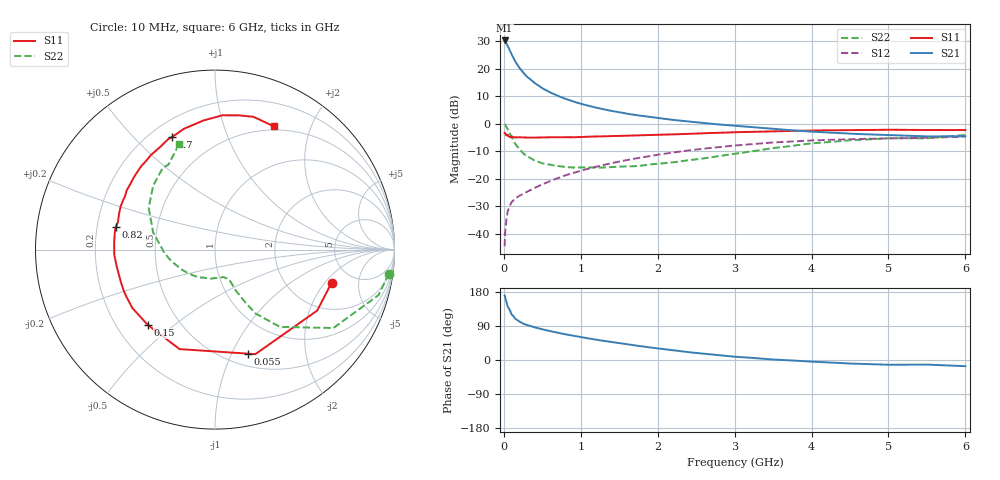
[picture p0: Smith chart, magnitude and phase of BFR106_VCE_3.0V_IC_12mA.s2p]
! Infineon Technologies  Discrete & RF Semiconductors
! BFR106
! VCE =  3.0 V,  IC =  12 mA
! Common Emitter S-Parameters:  Nov 2015
# GHz  S  MA  R  50
!  f  S11  S21  S12  S22
! GHz  MAG  ANG  MAG  ANG  MAG  ANG  MAG  ANG
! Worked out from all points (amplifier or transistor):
!   210 points, 10 MHz to 6 GHz, reference 50 ohm
!   highest |S21| = 30.2 dB at 10 MHz (marker M1)
!   |S21| within 3 dB of that: start of sweep to 67.19 MHz
!   unconditionally stable (mu >= 1): 454.1 MHz to 2.187 GHz; 5.164 GHz to end of sweep
!   at 185 MHz: K = 0.62, MSG = 23.8 dB, |S12| = -26.6 dB
!   at 1.52 GHz: K = 1.07, MAG = 7.2 dB, |S12| = -13.7 dB
!   at 6 GHz: K = 1.01, MAG = -0.6 dB, |S12| = -4.8 dB
!   S11 on the Smith chart (normalised r, x): 10 MHz: 3.46, -2.35; 55 MHz: 0.63, -1.15; 150 MHz: 0.33, -0.41; 820 MHz: 0.28, +0.10; 2.7 GHz: 0.28, +0.65; 6 GHz: 0.46, +1.48
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0.01  0.6752 -15.9  32.34 170.3  0.0059 82.5  0.9782 -7.9
0.02  0.6632 -30.8  31.38 162.3  0.0119 76.4  0.9461 -15.5
0.05  0.6244 -68.9  25.84 141.0  0.0253 61.6  0.7913 -33.5
0.055  0.6078 -72.5  24.96 139.5  0.0264 60.0  0.7663 -34.7
0.1  0.5885 -109.6  18.11 120.5  0.0372 50.1  0.563 -49.9
0.15  0.5625 -131.8  13.26 108.5  0.0435 47.0  0.4234 -57.5
0.2  0.5638 -144.7  10.4 101.5  0.0484 47.8  0.3442 -60.0
0.26  0.5578 -155.5  8.186 95.3  0.0536 49.6  0.2819 -62.0
0.3  0.5547 -161.1  7.13 92.2  0.0571 51.7  0.2557 -63.1
0.4  0.556 -170.6  5.441 86.1  0.0675 54.9  0.2123 -63.8
0.5  0.5622 -177.3  4.38 80.7  0.0782 57.5  0.1892 -64.6
0.6  0.563 177.0  3.686 76.0  0.09 59.2  0.1776 -66.3
0.7  0.5653 172.1  3.194 71.5  0.1014 60.6  0.1692 -69.0
0.82  0.5666 167.1  2.752 67.1  0.1166 61.1  0.1614 -72.5
1.02  0.5718 158.8  2.247 59.8  0.1413 61.6  0.1595 -79.0
1.4  0.592 146.3  1.694 47.6  0.1902 59.8  0.1621 -95.8
2.02  0.6243 128.6  1.25 30.1  0.2731 53.4  0.1862 -128.4
2.7  0.672 110.9  0.988 14.6  0.3614 43.9  0.2444 -163.1
3.1  0.6988 102.5  0.885 7.4  0.4083 37.4  0.2939 179.3
4.1  0.7506 85.5  0.7 -5.2  0.4974 21.0  0.446 144.8
5.1  0.7682 72.8  0.609 -12.4  0.5399 7.0  0.5406 121.7
6  0.7606 64.6  0.586 -16.3  0.5785 -3.3  0.6197 108.8
